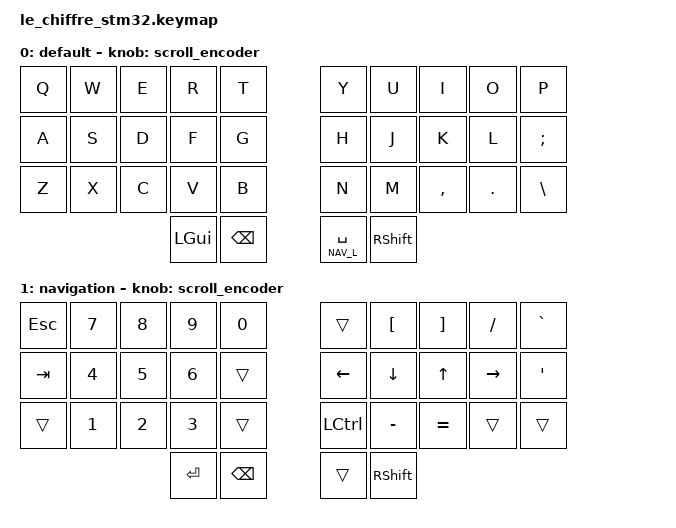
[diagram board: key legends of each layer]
/*
 * Copyright (c) 2020 The ZMK Contributors
 *
 * SPDX-License-Identifier: MIT
 */

#include <behaviors.dtsi>
#include <dt-bindings/zmk/keys.h>
#include <dt-bindings/zmk/pointing.h>

#define NAV_L 1

// Using layer taps on thumbs, having quick tap as well helps w/ repeating space/backspace
&lt { quick_tap_ms = <200>; };

/ {
    behaviors {
        hm: homerow_mods {
            compatible = "zmk,behavior-hold-tap";
            label = "homerow mods";
            #binding-cells = <2>;
            tapping_term_ms = <200>;
            flavor = "tap-preferred";
            bindings = <&kp>, <&kp>;
        };
        // Rotary encoder: mouse scrolling
        scroll_encoder: scroll_encoder {
            compatible = "zmk,behavior-sensor-rotate";
            #sensor-binding-cells = <0>;
            bindings = <&msc SCRL_UP>, <&msc SCRL_DOWN>;
        };
    };

    keymap {
        compatible = "zmk,keymap";

        default_layer {
            display-name = "default";

            bindings = <
                &kp Q      &kp W      &kp E       &kp R          &kp T         &kp Y            &kp U          &kp I       &kp O      &kp P
                &kp A      &kp S      &kp D       &kp F          &kp G         &kp H            &kp J          &kp K       &kp L      &kp SEMI
                &kp Z      &kp X      &kp C       &kp V          &kp B         &kp N            &kp M          &kp COMMA   &kp DOT    &kp BSLH 
                                                  &kp LGUI       &kp BSPC      &lt NAV_L SPACE  &kp RSHFT
            >;
            sensor-bindings = <&scroll_encoder>;
        };

        nav_layer {
            display-name = "navigation";

            bindings = <
                &kp ESC     &kp N7  &kp N8   &kp N9       &kp N0 &trans           &kp LBKT       &kp RBKT    &kp SLASH  &kp GRAVE
                &kp TAB     &kp N4  &kp N5   &kp N6       &trans       &kp LEFT         &kp DOWN       &kp UP      &kp RIGHT  &kp SQT
                &trans      &kp N1  &kp N2   &kp N3       &trans       &kp LCTRL        &kp MINUS      &kp EQUAL   &trans     &trans 
                                                         &kp RET            &kp BSPC     &trans           &kp RSHFT 
            >;
            sensor-bindings = <&scroll_encoder>;
        };
    };
};
